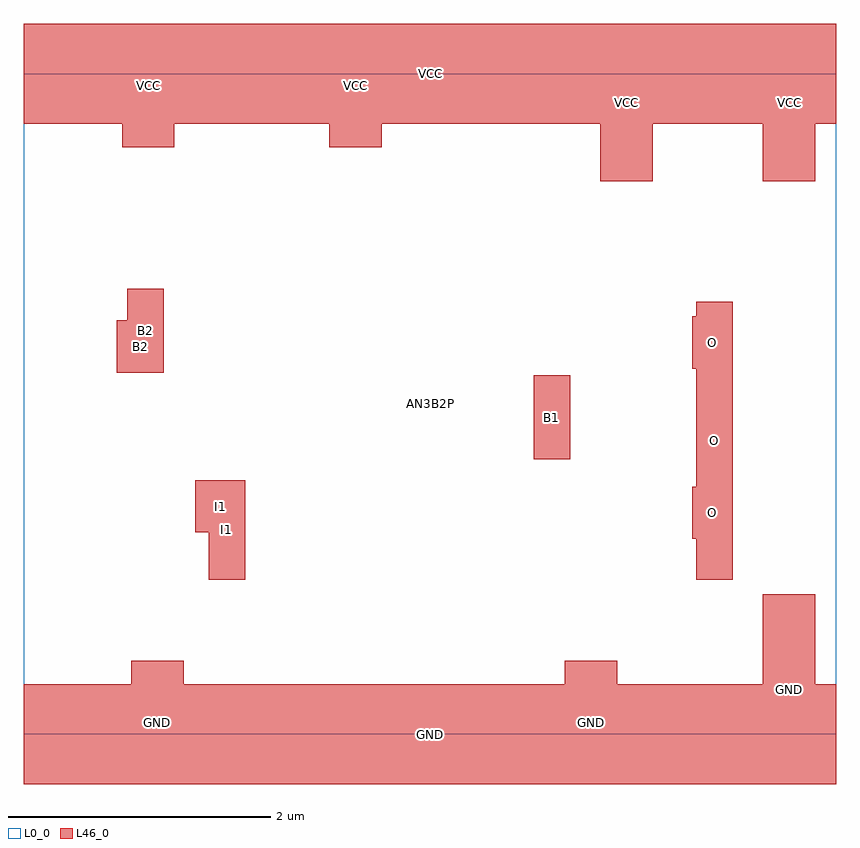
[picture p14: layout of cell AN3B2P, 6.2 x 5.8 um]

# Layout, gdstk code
import gdstk
lib = gdstk.Library(unit=1e-6, precision=1e-09)
def R(c, l, rs):  # rectangles x0, y0, x1, y1
    for r in rs: c.add(gdstk.rectangle(r[:2], r[2:], *l))
L0_0 = (0, 0)
L46_0 = (46, 0)

an3b2p = lib.new_cell('AN3B2P')
R(an3b2p, L0_0, [(0,0,6.2,5.04)])
R(an3b2p, L46_0, [(0,-0.38,6.2,0.38), (0.82,-0.38,1.22,0.56), (4.13,-0.38,4.53,0.56), (5.64,-0.38,6.04,1.07), (1.41,1.18,1.69,1.94), (5.13,1.18,5.41,3.3), (5.1,1.49,5.41,1.89), (1.31,1.54,1.69,1.94), (3.89,2.1,4.17,2.74), (0.71,2.76,1.07,3.16), (0.79,2.76,1.07,3.4), (5.1,2.79,5.41,3.19), (4.4,4.22,4.8,5.42), (5.64,4.22,6.04,5.42), (0.75,4.48,1.15,5.42), (2.33,4.48,2.73,5.42), (0,4.66,6.2,5.42)])
an3b2p.add(gdstk.Label('AN3B2P', (3.1,2.52), layer=0, texttype=0))
an3b2p.add(gdstk.Label('O', (5.255,2.99), layer=101, texttype=0))
an3b2p.add(gdstk.Label('O', (5.27,2.24), layer=101, texttype=0))
an3b2p.add(gdstk.Label('O', (5.255,1.69), layer=101, texttype=0))
an3b2p.add(gdstk.Label('I1', (1.5,1.74), layer=101, texttype=0))
an3b2p.add(gdstk.Label('I1', (1.55,1.56), layer=101, texttype=0))
an3b2p.add(gdstk.Label('B2', (0.93,3.08), layer=101, texttype=0))
an3b2p.add(gdstk.Label('B2', (0.89,2.96), layer=101, texttype=0))
an3b2p.add(gdstk.Label('B1', (4.03,2.42), layer=101, texttype=0))
an3b2p.add(gdstk.Label('GND', (4.33,0.09), layer=101, texttype=0))
an3b2p.add(gdstk.Label('GND', (5.84,0.345), layer=101, texttype=0))
an3b2p.add(gdstk.Label('GND', (3.1,0), layer=101, texttype=0))
an3b2p.add(gdstk.Label('GND', (1.02,0.09), layer=101, texttype=0))
an3b2p.add(gdstk.Label('VCC', (2.53,4.95), layer=101, texttype=0))
an3b2p.add(gdstk.Label('VCC', (4.6,4.82), layer=101, texttype=0))
an3b2p.add(gdstk.Label('VCC', (5.84,4.82), layer=101, texttype=0))
an3b2p.add(gdstk.Label('VCC', (3.1,5.04), layer=101, texttype=0))
an3b2p.add(gdstk.Label('VCC', (0.95,4.95), layer=101, texttype=0))

lib.write_gds('AN3B2P.gds')
